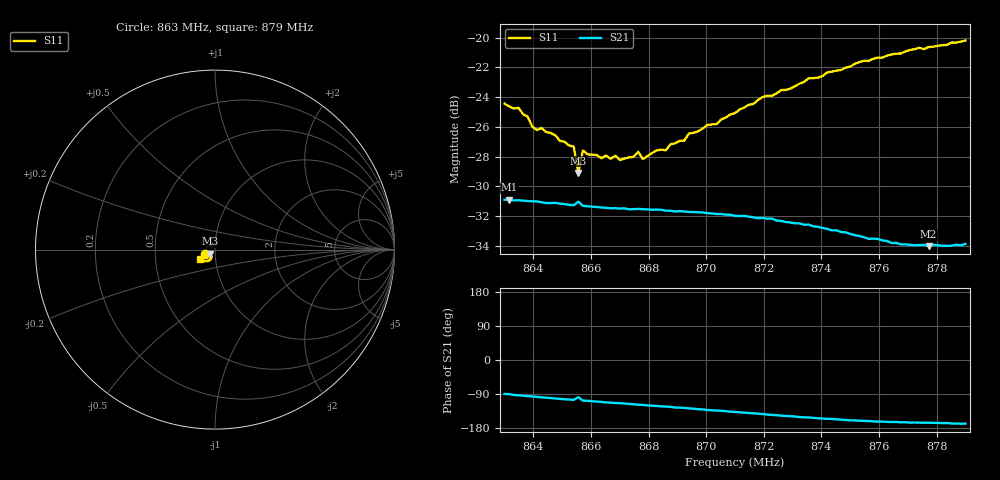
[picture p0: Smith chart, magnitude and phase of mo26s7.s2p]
# HZ S RI R 50
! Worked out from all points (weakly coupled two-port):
!   101 points, 863 MHz to 879 MHz, reference 50 ohm
!   highest |S21| = -30.90 dB at 863.16 MHz (marker M1); lowest = -34.0 dB at 877.72 MHz (marker M2)
!   lowest |S11| = -29.1 dB at 865.56 MHz (marker M3), VSWR 1.07, Z = 47.3 - j2.12 ohm
!   |S11| at or under -10 dB: start of sweep to end of sweep
!   S12 and S22 are empty: the file has one direction only
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8.63e8  -0.0546 -0.0247  0.000209 -0.0285  0 0  0 0
8.6316e8  -0.0535 -0.0241  1.1e-05 -0.0285  0 0  0 0
8.6348e8  -0.0528 -0.0241  -0.00151 -0.0284  0 0  0 0
8.6412e8  -0.0438 -0.0218  -0.00355 -0.0279  0 0  0 0
8.6428e8  -0.0436 -0.0237  -0.00412 -0.0277  0 0  0 0
8.654e8  -0.0364 -0.0229  -0.00723 -0.0264  0 0  0 0
8.6556e8  -0.0271 -0.0223  -0.00395 -0.0278  0 0  0 0
8.6572e8  -0.0337 -0.0247  -0.0081 -0.0259  0 0  0 0
8.6636e8  -0.03 -0.0254  -0.0094 -0.0251  0 0  0 0
8.6684e8  -0.0278 -0.0289  -0.0106 -0.0245  0 0  0 0
8.67e8  -0.0265 -0.0282  -0.0108 -0.0243  0 0  0 0
8.6748e8  -0.024 -0.0317  -0.012 -0.0236  0 0  0 0
8.6764e8  -0.0256 -0.0324  -0.0124 -0.0235  0 0  0 0
8.678e8  -0.0232 -0.0314  -0.0126 -0.0233  0 0  0 0
8.6844e8  -0.0221 -0.0357  -0.0141 -0.0223  0 0  0 0
8.686e8  -0.0202 -0.0366  -0.0142 -0.022  0 0  0 0
8.71e8  -0.0233 -0.0506  -0.0184 -0.0171  0 0  0 0
8.7196e8  -0.0279 -0.0566  -0.0197 -0.0151  0 0  0 0
8.7372e8  -0.0381 -0.0623  -0.0206 -0.0106  0 0  0 0
8.7644e8  -0.0612 -0.0628  -0.0196 -0.00575  0 0  0 0
8.7772e8  -0.0721 -0.0585  -0.0193 -0.00498  0 0  0 0
8.79e8  -0.0839 -0.0503  -0.0198 -0.00426  0 0  0 0
